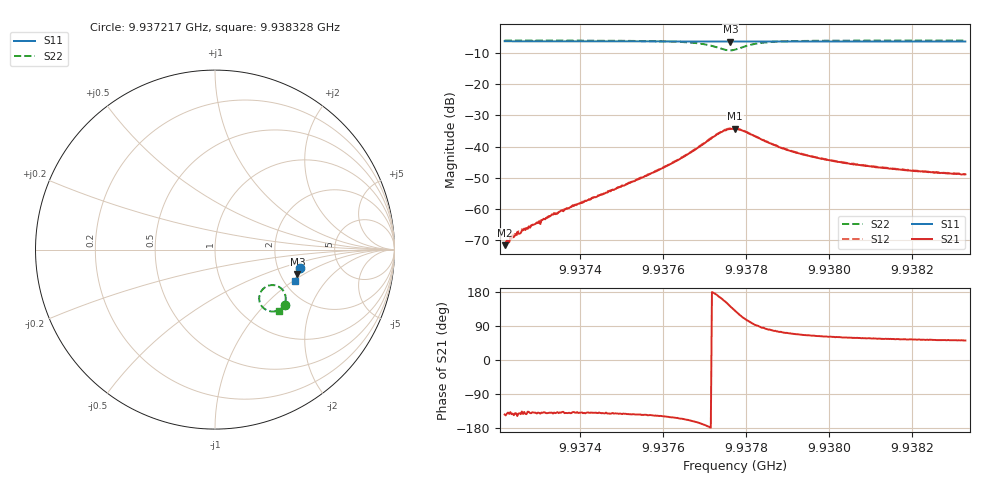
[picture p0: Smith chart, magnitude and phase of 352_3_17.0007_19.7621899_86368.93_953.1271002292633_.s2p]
#  HZ  S  RI  R  50.00
! Rohde & Schwarz Vector Network Analyzer
! Rohde-Schwarz,ZNB20-2Port,1311601062101988,3.16
! Created: UTC 3/20/2024, 11:07:53 PM
! freq[Hz]  re:S11  im:S11  re:S21  im:S21  re:S12  im:S12  re:S22  im:S22
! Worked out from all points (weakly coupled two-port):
!   401 points, 9.937217 GHz to 9.938328 GHz, reference 50 ohm
!   highest |S21| = -34.29 dB at 9.937773 GHz (marker M1); lowest = -71.6 dB at 9.937217 GHz (marker M2)
!   lowest |S11| = -6.4 dB at 9.937761 GHz (marker M3), VSWR 2.84, Z = 124 - j44.1 ohm
!   |S11| at or under -10 dB: nowhere
!   |S22| runs from -9.2 to -6.0 dB; largest |S21 - S12| = 0.00082
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9.9372174e9  0.4729 -0.1027  -0.000211 -0.000154  -0.000207 -0.00015  0.3892 -0.3113
9.9372368e9  0.4724 -0.1041  -0.000277 -0.00022  -0.000314 -0.000233  0.3878 -0.3127
9.9372562e9  0.4721 -0.1055  -0.000331 -0.00025  -0.00035 -0.000291  0.3865 -0.3141
9.9372646e9  0.4718 -0.106  -0.000357 -0.000333  -0.000374 -0.00029  0.3858 -0.3144
9.9373034e9  0.4712 -0.1085  -0.000451 -0.000359  -0.000506 -0.000413  0.3829 -0.3174
9.9373284e9  0.4706 -0.1101  -0.00059 -0.000509  -0.000578 -0.000517  0.3808 -0.3191
9.9374033e9  0.4691 -0.1152  -0.00093 -0.000833  -0.00101 -0.000836  0.3741 -0.325
9.9375338e9  0.4662 -0.1239  -0.00236 -0.00171  -0.00237 -0.00169  0.356 -0.3365
9.9375893e9  0.465 -0.1277  -0.0036 -0.00226  -0.00368 -0.00226  0.3425 -0.3418
9.9376532e9  0.4631 -0.132  -0.00658 -0.0028  -0.00675 -0.00276  0.3151 -0.345
9.9377003e9  0.4615 -0.135  -0.0113 -0.00164  -0.0116 -0.00147  0.2769 -0.3309
9.9377392e9  0.4597 -0.1369  -0.0163 0.005  -0.0164 0.0056  0.2461 -0.273
9.9377614e9  0.4591 -0.1375  -0.0149 0.0121  -0.0149 0.0127  0.2662 -0.2208
9.9377725e9  0.4591 -0.1378  -0.0124 0.0148  -0.0121 0.0153  0.2906 -0.2038
9.9377947e9  0.4594 -0.139  -0.00597 0.0165  -0.00552 0.017  0.3422 -0.2011
9.9378308e9  0.4592 -0.1415  0.000323 0.0135  0.000729 0.0137  0.3846 -0.2357
9.9378835e9  0.4583 -0.1454  0.00258 0.00913  0.00281 0.00926  0.394 -0.2753
9.9379585e9  0.4566 -0.1504  0.00299 0.00621  0.00313 0.00623  0.3881 -0.3024
9.9380529e9  0.4542 -0.1566  0.00273 0.00451  0.00287 0.00449  0.379 -0.3195
9.9381445e9  0.4517 -0.1626  0.00251 0.00365  0.0026 0.00367  0.3715 -0.33
9.9382555e9  0.4486 -0.1698  0.00232 0.00306  0.00241 0.00304  0.3632 -0.3393
9.9383277e9  0.4466 -0.1743  0.00225 0.00281  0.00229 0.0028  0.3583 -0.3446
